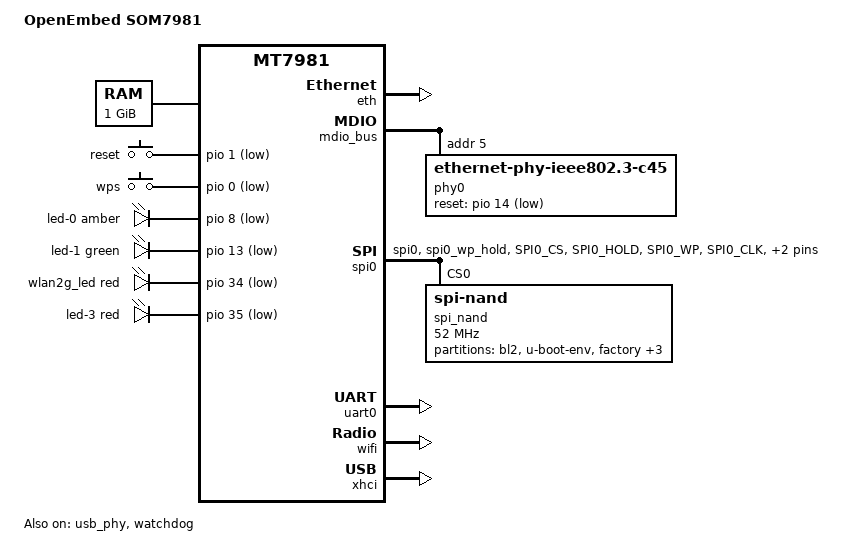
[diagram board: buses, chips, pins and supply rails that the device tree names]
// SPDX-License-Identifier: GPL-2.0-or-later OR MIT

/dts-v1/;

#include <dt-bindings/gpio/gpio.h>
#include <dt-bindings/input/input.h>
#include <dt-bindings/leds/common.h>
#include "mt7981.dtsi"

/ {
	model = "OpenEmbed SOM7981";
	compatible = "openembed,som7981", "mediatek,mt7981";

	aliases {
		led-boot = &wlan2g_led;
		led-failsafe = &wlan2g_led;
		led-upgrade = &wlan2g_led;
		serial0 = &uart0;
	};

	chosen {
		stdout-path = "serial0:115200n8";
	};

	memory@40000000 {
		reg = <0 0x40000000 0 0x40000000>;
	};

	gpio-keys {
		compatible = "gpio-keys";

		button-reset {
			label = "reset";
			linux,code = <KEY_RESTART>;
			gpios = <&pio 1 GPIO_ACTIVE_LOW>;
		};

		button-wps {
			label = "wps";
			linux,code = <KEY_WPS_BUTTON>;
			gpios = <&pio 0 GPIO_ACTIVE_LOW>;
		};
	};

	gpio-leds {
		compatible = "gpio-leds";

		led-0 {
			function = LED_FUNCTION_LAN;
			color = <LED_COLOR_ID_AMBER>;
			gpios = <&pio 8 GPIO_ACTIVE_LOW>;
		};

		led-1 {
			function = LED_FUNCTION_LAN;
			color = <LED_COLOR_ID_GREEN>;
			gpios = <&pio 13 GPIO_ACTIVE_LOW>;
		};

		wlan2g_led: led-2 {
			function = LED_FUNCTION_WLAN_2GHZ;
			color = <LED_COLOR_ID_RED>;
			gpios = <&pio 34 GPIO_ACTIVE_LOW>;
			linux,default-trigger = "phy0tpt";
		};

		led-3 {
			function = LED_FUNCTION_WLAN_5GHZ;
			color = <LED_COLOR_ID_RED>;
			gpios = <&pio 35 GPIO_ACTIVE_LOW>;
			linux,default-trigger = "phy1tpt";
		};
	};
};

&eth {
	pinctrl-names = "default";
	pinctrl-0 = <&mdio_pins>;
	status = "okay";

	gmac0: mac@0 {
		compatible = "mediatek,eth-mac";
		reg = <0>;
		phy-mode = "2500base-x";
		phy-handle = <&phy0>;
		nvmem-cells = <&macaddr_factory_a 0>;
		nvmem-cell-names = "mac-address";
	};

	gmac1: mac@1 {
		compatible = "mediatek,eth-mac";
		reg = <1>;
		phy-mode = "gmii";
		phy-handle = <&int_gbe_phy>;
		nvmem-cells = <&macaddr_factory_a 1>;
		nvmem-cell-names = "mac-address";
	};
};

&mdio_bus {
	phy0: ethernet-phy@5 {
		reg = <5>;
		compatible = "ethernet-phy-ieee802.3-c45";
		phy-mode = "2500base-x";
		reset-gpios = <&pio 14 GPIO_ACTIVE_LOW>;
		reset-assert-us = <10000>;
		reset-deassert-us = <50000>;
		realtek,aldps-enable;
	};
};

&spi0 {
	pinctrl-names = "default";
	pinctrl-0 = <&spi0_flash_pins>;
	status = "okay";

	spi_nand: flash@0 {
		compatible = "spi-nand";
		#address-cells = <1>;
		#size-cells = <1>;
		reg = <0>;

		spi-max-frequency = <52000000>;
		spi-tx-bus-width = <4>;
		spi-rx-bus-width = <4>;

		partitions {
			compatible = "fixed-partitions";
			#address-cells = <1>;
			#size-cells = <1>;

			partition@0 {
				label = "bl2";
				reg = <0x000000 0x100000>;
				read-only;
			};

			partition@100000 {
				label = "u-boot-env";
				reg = <0x100000 0x80000>;
			};

			partition@180000 {
				compatible = "nvmem-cells";
				label = "factory";
				reg = <0x180000 0x100000>;
				read-only;

				nvmem-layout {
					compatible = "fixed-layout";
					#address-cells = <1>;
					#size-cells = <1>;

					eeprom_factory_0: eeprom@0 {
						reg = <0x0 0x1000>;
					};

					macaddr_factory_a: macaddr@a {
						compatible = "mac-base";
						reg = <0xa 0x6>;
						#nvmem-cell-cells = <1>;
					};
				};
			};

			partition@280000 {
				label = "config";
				reg = <0x280000 0x100000>;
				read-only;
			};

			partition@380000 {
				label = "fip";
				reg = <0x380000 0x200000>;
				read-only;
			};

			partition@580000 {
				label = "ubi";
				reg = <0x580000 0xf880000>;
			};
		};
	};
};

&pio {
	spi0_flash_pins: spi0-pins {
		mux {
			function = "spi";
			groups = "spi0", "spi0_wp_hold";
		};

		conf-pu {
			pins = "SPI0_CS", "SPI0_HOLD", "SPI0_WP";
			drive-strength = <8>;
			mediatek,pull-up-adv = <0>;
		};

		conf-pd {
			pins = "SPI0_CLK", "SPI0_MOSI", "SPI0_MISO";
			drive-strength = <8>;
			mediatek,pull-down-adv = <0>;
		};
	};
};

&uart0 {
	status = "okay";
};

&usb_phy {
	status = "okay";
};

&watchdog {
	status = "okay";
};

&wifi {
	nvmem-cells = <&eeprom_factory_0>;
	nvmem-cell-names = "eeprom";
	status = "okay";
};

&xhci {
	status = "okay";
};
